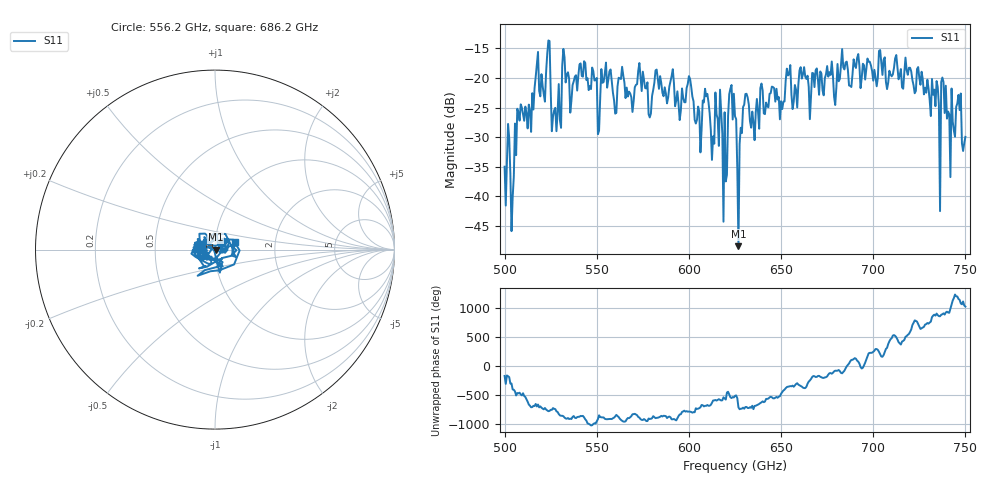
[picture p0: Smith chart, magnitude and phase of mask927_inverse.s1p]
!Created with skrf (http://scikit-rf.org).
# GHz S MA R 50.0
!freq magS11 angS11
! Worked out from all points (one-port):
!   401 points, 500 GHz to 750 GHz, reference 50 ohm
!   lowest |S11| = -48.4 dB at 626.9 GHz (marker M1), VSWR 1.01, Z = 50.4 + j0.0399 ohm
!   |S11| at or under -10 dB: start of sweep to end of sweep
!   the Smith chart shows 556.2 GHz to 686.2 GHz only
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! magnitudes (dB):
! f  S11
! 500 GHz  -35.0
! 504.4 GHz  -40.1
! 508.1 GHz  -27.2
! 513.1 GHz  -24.5
! 517.5 GHz  -17.6
! 523.8 GHz  -13.7
! 526.9 GHz  -25.5
! 531.2 GHz  -18.0
! 562.5 GHz  -20.1
! 593.8 GHz  -22.3
! 605.6 GHz  -25.7
! 609.4 GHz  -23.1
! 612.5 GHz  -33.8
! 616.9 GHz  -22.0
! 619.4 GHz  -25.8
! 622.5 GHz  -21.8
! 625 GHz  -26.5
! 626.9 GHz  -48.4
! 630.6 GHz  -22.7
! 634.4 GHz  -25.7
! 656.2 GHz  -25.3
! 687.5 GHz  -21.3
! 718.8 GHz  -19.5
! 735 GHz  -21.6
! 738.1 GHz  -20.7
! 743.1 GHz  -27.4
! 746.2 GHz  -22.9
! 750 GHz  -29.9
